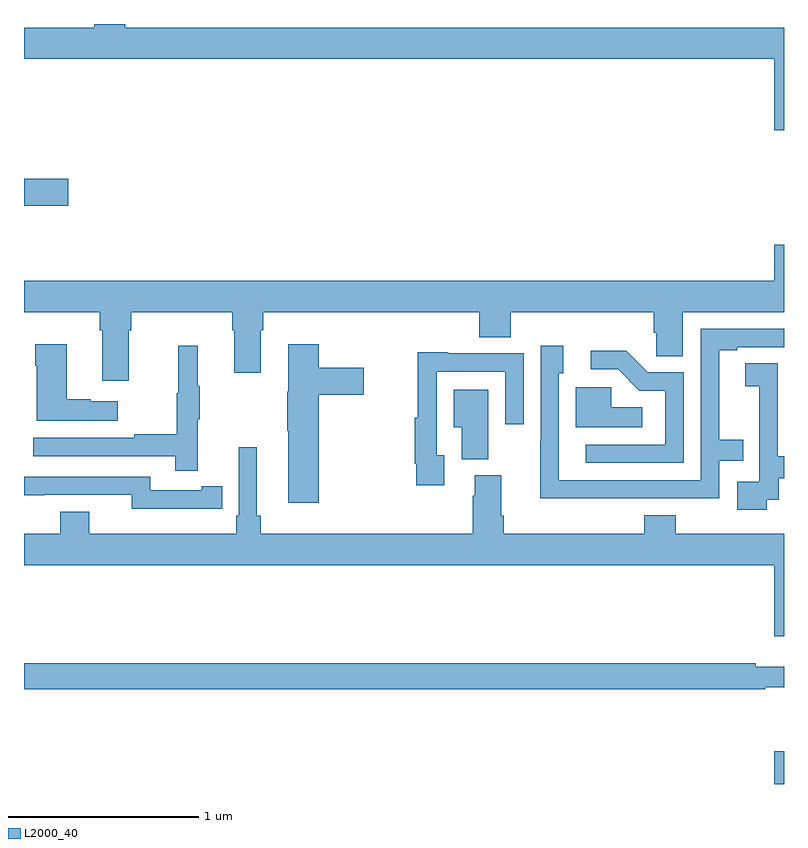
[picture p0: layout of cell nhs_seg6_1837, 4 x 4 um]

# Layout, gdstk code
import gdstk
lib = gdstk.Library(unit=1e-6, precision=1e-09)
def R(c, l, rs):  # rectangles x0, y0, x1, y1
    for r in rs: c.add(gdstk.rectangle(r[:2], r[2:], *l))
def P(c, l, *ps):  # polygons
    for p in ps: c.add(gdstk.Polygon(p, *l))
L2000_40 = (2000, 40)

nhs_seg6_1837 = lib.new_cell('nhs_seg6_1837')
R(nhs_seg6_1837, L2000_40, [(224.948,963.5,225,963.673), (221,966.544,221.233,966.686)])
P(nhs_seg6_1837, L2000_40, [(225,967.48),(221.534,967.48),(221.534,967.5),(221.369,967.5),(221.369,967.48),(221,967.48),(221,967.316),(224.948,967.316),(224.948,966.942),(225,966.942)],
  [(221.551,965.888),(221.564,965.888),(221.564,965.984),(222.095,965.984),(222.095,965.888),(222.107,965.888),(222.107,965.664),(222.247,965.664),(222.247,965.888),(222.26,965.888),(222.26,965.984),(223.397,965.984),(223.397,965.851),(223.562,965.851),(223.562,965.984),(224.315,965.984),(224.315,965.875),(224.328,965.875),(224.328,965.752),(224.467,965.752),(224.467,965.984),(225,965.984),(225,966.337),(224.948,966.337),(224.948,966.148),(221,966.148),(221,965.984),(221.399,965.984),(221.399,965.888),(221.411,965.888),(221.411,965.622),(221.551,965.622)],
  [(224.18,965.004),(224.658,965.004),(224.658,965.202),(224.786,965.202),(224.786,965.311),(224.659,965.311),(224.659,965.784),(224.755,965.784),(224.755,965.799),(225,965.799),(225,965.895),(224.562,965.895),(224.562,965.1),(223.815,965.1),(223.815,965.661),(223.837,965.661),(223.837,965.806),(223.719,965.806),(223.719,965.306),(223.718,965.306),(223.718,965.003),(224.18,965.003)],
  [(221.494,965.515),(221.351,965.515),(221.351,965.525),(221.224,965.525),(221.224,965.815),(221.059,965.815),(221.059,965.702),(221.066,965.702),(221.066,965.411),(221.494,965.411)],
  [(222.551,965.549),(222.787,965.549),(222.787,965.691),(222.551,965.691),(222.551,965.815),(222.392,965.815),(222.392,965.565),(222.385,965.565),(222.385,965.359),(222.392,965.359),(222.392,964.98),(222.551,964.98)],
  [(221.915,965.419),(221.926,965.419),(221.926,965.593),(221.915,965.593),(221.915,965.806),(221.812,965.806),(221.812,965.556),(221.805,965.556),(221.805,965.342),(221.581,965.342),(221.581,965.322),(221.049,965.322),(221.049,965.226),(221.797,965.226),(221.797,965.148),(221.915,965.148)],
  [(224.472,965.667),(224.283,965.667),(224.17,965.78),(223.983,965.78),(223.983,965.682),(224.127,965.682),(224.238,965.571),(224.376,965.571),(224.376,965.286),(223.956,965.286),(223.956,965.19),(224.472,965.19)],
  [(223.213,965.229),(223.173,965.229),(223.173,965.67),(223.533,965.67),(223.533,965.394),(223.629,965.394),(223.629,965.766),(223.233,965.766),(223.233,965.773),(223.072,965.773),(223.072,965.427),(223.057,965.427),(223.057,965.185),(223.065,965.185),(223.065,965.073),(223.213,965.073)],
  [(224.91,964.995),(224.972,964.995),(224.972,965.109),(225,965.109),(225,965.225),(224.968,965.225),(224.968,965.603),(224.966,965.603),(224.966,965.714),(224.796,965.714),(224.796,965.593),(224.87,965.593),(224.87,965.395),(224.871,965.395),(224.871,965.091),(224.754,965.091),(224.754,964.944),(224.91,964.944)],
  [(224.254,965.482),(224.091,965.482),(224.091,965.589),(223.904,965.589),(223.904,965.378),(224.254,965.378)],
  [(223.444,965.575),(223.262,965.575),(223.262,965.378),(223.304,965.378),(223.304,965.209),(223.444,965.209)],
  [(225,964.816),(224.429,964.816),(224.429,964.915),(224.264,964.915),(224.264,964.816),(223.526,964.816),(223.526,964.912),(223.513,964.912),(223.513,965.124),(223.373,965.124),(223.373,965.018),(223.361,965.018),(223.361,964.816),(222.245,964.816),(222.245,964.912),(222.226,964.912),(222.226,965.272),(222.129,965.272),(222.129,964.912),(222.116,964.912),(222.116,964.816),(221.344,964.816),(221.344,964.933),(221.192,964.933),(221.192,964.816),(221,964.816),(221,964.652),(224.948,964.652),(224.948,964.278),(225,964.278)],
  [(221.936,964.95),(222.044,964.95),(222.044,965.066),(221.936,965.066),(221.936,965.046),(221.664,965.046),(221.664,965.118),(221,965.118),(221,965.021),(221.108,965.021),(221.108,965.022),(221.568,965.022),(221.568,964.949),(221.936,964.949)],
  [(224.9,964.008),(225,964.008),(225,964.117),(224.852,964.117),(224.852,964.136),(221,964.136),(221,964),(224.9,964)])

lib.write_gds('nhs_seg6_1837.gds')
